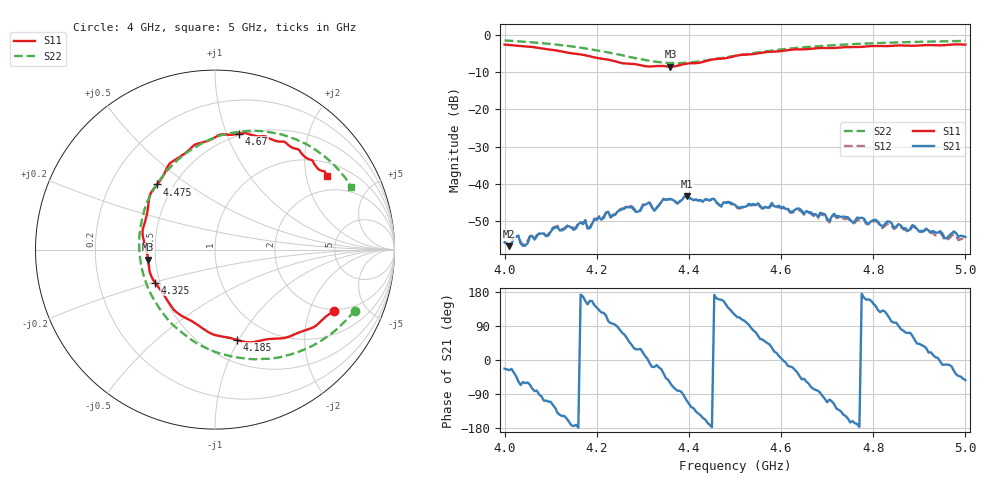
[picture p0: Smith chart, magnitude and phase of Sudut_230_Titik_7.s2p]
# Hz S RI R 50
! CMT, C1220, 16058040, 17.2.0/1
! Date: 15/08/2018 12:04:12
! Data: Format (Calibration Info)
! Freq  S11: Re/Im (F2)  S21: Re/Im (F2)  S12: Re/Im (F2)  S22: Re/Im (F2)
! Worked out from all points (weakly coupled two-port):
!   201 points, 4 GHz to 5 GHz, reference 50 ohm
!   highest |S21| = -43.43 dB at 4.395 GHz (marker M1); lowest = -56.8 dB at 4.01 GHz (marker M2)
!   lowest |S11| = -8.5 dB at 4.36 GHz (marker M3), VSWR 2.21, Z = 22.8 - j2.98 ohm
!   |S11| at or under -10 dB: nowhere
!   |S22| runs from -7.5 to -1.4 dB; largest |S21 - S12| = 0.00027
!   S11 on the Smith chart (normalised r, x): 4 GHz: 1.94, -2.99; 4.185 GHz: 0.72, -0.99; 4.325 GHz: 0.47, -0.20; 4.475 GHz: 0.41, +0.39; 4.67 GHz: 0.48, +1.11; 5 GHz: 1.41, +2.63
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4e9  0.6652 -0.3398  0.00148 -0.000628  0.00153 -0.000606  0.7772 -0.3395
4.01e9  0.6485 -0.3524  0.00128 -0.000654  0.00134 -0.00061  0.7592 -0.3624
4.025e9  0.6164 -0.3747  0.00142 -0.00132  0.00148 -0.00126  0.7302 -0.3935
4.045e9  0.571 -0.417  0.00071 -0.00129  0.000743 -0.00126  0.6869 -0.4364
4.06e9  0.5364 -0.4382  0.000506 -0.00191  0.000559 -0.00197  0.6514 -0.4665
4.17e9  0.1735 -0.5157  -0.00278 0.000612  -0.00283 0.000659  0.28 -0.6086
4.185e9  0.1244 -0.5039  -0.0023 0.00101  -0.00234 0.000938  0.2165 -0.6109
4.195e9  0.0871 -0.4929  -0.0027 0.00195  -0.00279 0.0019  0.1729 -0.6071
4.265e9  -0.1685 -0.3787  0.00255 0.00416  0.00265 0.00433  -0.1314 -0.5024
4.29e9  -0.243 -0.3167  0.0037 0.00199  0.0038 0.00196  -0.2285 -0.4244
4.315e9  -0.3067 -0.221  0.00538 -0.00087  0.00547 -0.000923  -0.3093 -0.3281
4.325e9  -0.3342 -0.1841  0.00408 -0.00137  0.00411 -0.00149  -0.3354 -0.2863
4.335e9  -0.3537 -0.1505  0.00481 -0.00173  0.00482 -0.00188  -0.3605 -0.241
4.36e9  -0.3721 -0.0563  0.00289 -0.00544  0.00293 -0.00552  -0.4042 -0.1195
4.375e9  -0.3867 0.0142  0.00086 -0.00534  0.000779 -0.00531  -0.4174 -0.0466
4.395e9  -0.4038 0.0866  -0.00197 -0.00644  -0.0021 -0.00641  -0.4225 0.0527
4.475e9  -0.3217 0.3632  -0.00512 0.00227  -0.00499 0.00237  -0.3051 0.391
4.5e9  -0.2694 0.4488  -0.00249 0.00454  -0.0024 0.00445  -0.2414 0.4674
4.58e9  -0.0925 0.5913  0.00465 0.00294  0.00453 0.00279  -0.0128 0.6202
4.67e9  0.1342 0.6459  0.000929 -0.00372  0.000863 -0.00359  0.2376 0.6613
4.835e9  0.4357 0.5659  -0.00109 0.00288  -0.00105 0.0027  0.5723 0.5474
5e9  0.6213 0.4128  0.00115 -0.00153  0.00113 -0.00137  0.7586 0.3505
